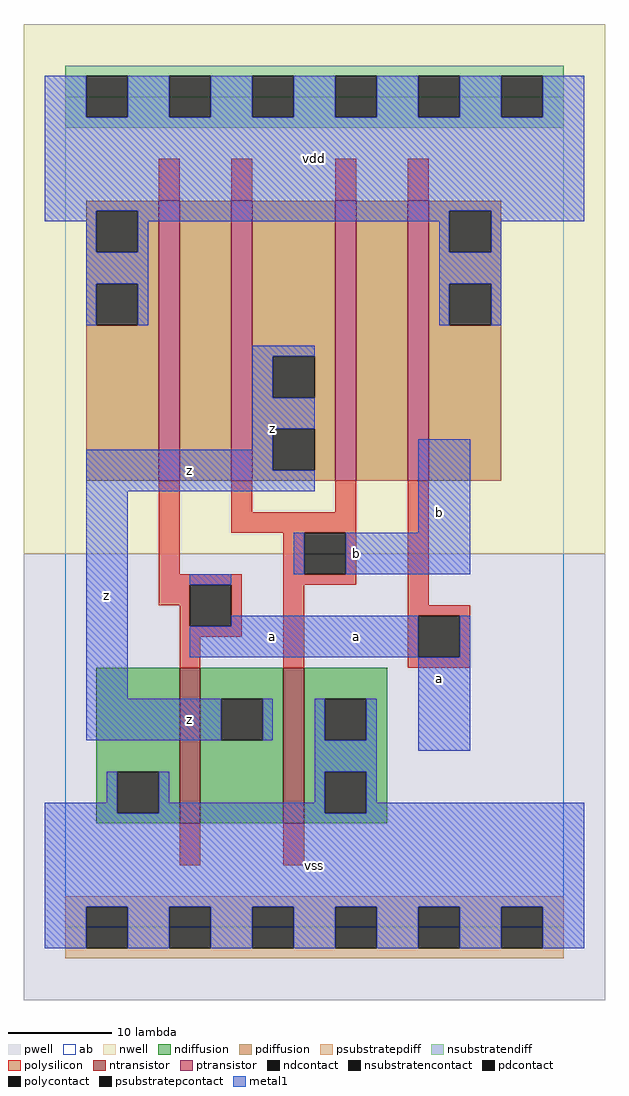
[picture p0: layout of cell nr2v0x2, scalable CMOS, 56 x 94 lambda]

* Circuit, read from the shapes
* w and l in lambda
.subckt nr2v0x2 a b vdd vss z
M1 z a vss vss nfet w=15 l=2
M2 vss b z vss nfet w=15 l=2
M3 n1 a vdd vdd pfet w=27 l=2
M4 z b n1 vdd pfet w=27 l=2
M5 n2 b z vdd pfet w=27 l=2
M6 vdd a n2 vdd pfet w=27 l=2
.ends

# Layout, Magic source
magic
tech scmos
<< ab >>
rect 0 0 48 80
<< pwell >>
rect -4 -7 52 36
<< nwell >>
rect -4 36 52 87
<< polysilicon >>
rect 9 70 11 74
rect 16 70 18 74
rect 26 70 28 74
rect 33 70 35 74
rect 9 34 11 43
rect 16 40 18 43
rect 26 40 28 43
rect 16 38 28 40
rect 21 34 23 38
rect 27 34 28 38
rect 9 33 17 34
rect 9 31 12 33
rect 11 29 12 31
rect 16 29 17 33
rect 11 28 17 29
rect 21 33 28 34
rect 11 25 13 28
rect 21 25 23 33
rect 33 31 35 43
rect 33 30 39 31
rect 33 26 34 30
rect 38 26 39 30
rect 33 25 39 26
rect 11 6 13 10
rect 21 6 23 10
<< ndiffusion >>
rect 3 15 11 25
rect 3 11 5 15
rect 9 11 11 15
rect 3 10 11 11
rect 13 22 21 25
rect 13 18 15 22
rect 19 18 21 22
rect 13 10 21 18
rect 23 22 31 25
rect 23 18 25 22
rect 29 18 31 22
rect 23 15 31 18
rect 23 11 25 15
rect 29 11 31 15
rect 23 10 31 11
<< pdiffusion >>
rect 2 69 9 70
rect 2 65 3 69
rect 7 65 9 69
rect 2 62 9 65
rect 2 58 3 62
rect 7 58 9 62
rect 2 43 9 58
rect 11 43 16 70
rect 18 55 26 70
rect 18 51 20 55
rect 24 51 26 55
rect 18 48 26 51
rect 18 44 20 48
rect 24 44 26 48
rect 18 43 26 44
rect 28 43 33 70
rect 35 69 42 70
rect 35 65 37 69
rect 41 65 42 69
rect 35 62 42 65
rect 35 58 37 62
rect 41 58 42 62
rect 35 43 42 58
<< metal1 >>
rect -2 78 2 82
rect 6 78 10 82
rect 14 78 18 82
rect 22 78 26 82
rect 30 78 34 82
rect 38 78 42 82
rect 46 78 50 82
rect -2 69 50 78
rect -2 68 3 69
rect 2 65 3 68
rect 7 68 37 69
rect 7 65 8 68
rect 2 62 8 65
rect 2 58 3 62
rect 7 58 8 62
rect 36 65 37 68
rect 41 68 50 69
rect 41 65 42 68
rect 36 62 42 65
rect 36 58 37 62
rect 41 58 42 62
rect 18 55 24 56
rect 18 51 20 55
rect 18 48 24 51
rect 18 46 20 48
rect 2 44 20 46
rect 2 42 24 44
rect 2 22 6 42
rect 34 38 39 47
rect 22 34 23 38
rect 27 34 39 38
rect 12 33 16 34
rect 16 29 34 30
rect 12 26 34 29
rect 38 26 39 30
rect 2 18 15 22
rect 19 18 20 22
rect 24 18 25 22
rect 29 18 30 22
rect 24 15 30 18
rect 34 17 39 26
rect 4 12 5 15
rect -2 11 5 12
rect 9 12 10 15
rect 24 12 25 15
rect 9 11 25 12
rect 29 12 30 15
rect 29 11 50 12
rect -2 2 50 11
rect -2 -2 2 2
rect 6 -2 10 2
rect 14 -2 18 2
rect 22 -2 26 2
rect 30 -2 34 2
rect 38 -2 42 2
rect 46 -2 50 2
<< ntransistor >>
rect 11 10 13 25
rect 21 10 23 25
<< ptransistor >>
rect 9 43 11 70
rect 16 43 18 70
rect 26 43 28 70
rect 33 43 35 70
<< polycontact >>
rect 23 34 27 38
rect 12 29 16 33
rect 34 26 38 30
<< ndcontact >>
rect 5 11 9 15
rect 15 18 19 22
rect 25 18 29 22
rect 25 11 29 15
<< pdcontact >>
rect 3 65 7 69
rect 3 58 7 62
rect 20 51 24 55
rect 20 44 24 48
rect 37 65 41 69
rect 37 58 41 62
<< psubstratepcontact >>
rect 2 -2 6 2
rect 10 -2 14 2
rect 18 -2 22 2
rect 26 -2 30 2
rect 34 -2 38 2
rect 42 -2 46 2
<< nsubstratencontact >>
rect 2 78 6 82
rect 10 78 14 82
rect 18 78 22 82
rect 26 78 30 82
rect 34 78 38 82
rect 42 78 46 82
<< psubstratepdiff >>
rect 0 2 48 3
rect 0 -2 2 2
rect 6 -2 10 2
rect 14 -2 18 2
rect 22 -2 26 2
rect 30 -2 34 2
rect 38 -2 42 2
rect 46 -2 48 2
rect 0 -3 48 -2
<< nsubstratendiff >>
rect 0 82 48 83
rect 0 78 2 82
rect 6 78 10 82
rect 14 78 18 82
rect 22 78 26 82
rect 30 78 34 82
rect 38 78 42 82
rect 46 78 48 82
rect 0 77 48 78
<< labels >>
rlabel metal1 4 32 4 32 6 z
rlabel metal1 12 20 12 20 6 z
rlabel metal1 20 28 20 28 6 a
rlabel metal1 12 44 12 44 6 z
rlabel metal1 20 48 20 48 6 z
rlabel metal1 24 6 24 6 6 vss
rlabel metal1 28 28 28 28 6 a
rlabel metal1 28 36 28 36 6 b
rlabel metal1 24 74 24 74 6 vdd
rlabel metal1 36 24 36 24 6 a
rlabel metal1 36 40 36 40 6 b
<< end >>
